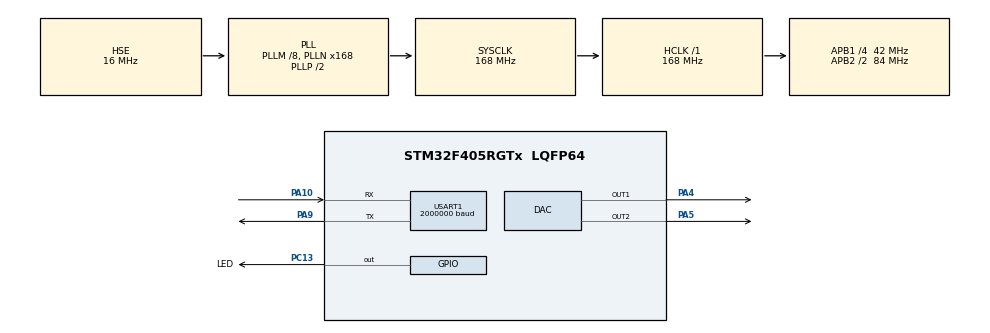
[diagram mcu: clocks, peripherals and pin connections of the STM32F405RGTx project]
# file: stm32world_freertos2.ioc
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ARM.CMSIS.5.6.0.CMSISJjDSP=Library
DAC.DAC_Trigger=DAC_TRIGGER_T6_TRGO
DAC.DAC_Trigger2=DAC_TRIGGER_T6_TRGO
Dma.DAC1.0.Direction=DMA_MEMORY_TO_PERIPH
Dma.DAC1.0.FIFOMode=DMA_FIFOMODE_DISABLE
Dma.DAC1.0.Instance=DMA1_Stream5
Dma.DAC1.0.MemDataAlignment=DMA_MDATAALIGN_HALFWORD
Dma.DAC1.0.MemInc=DMA_MINC_ENABLE
Dma.DAC1.0.Mode=DMA_CIRCULAR
Dma.DAC1.0.PeriphDataAlignment=DMA_PDATAALIGN_HALFWORD
Dma.DAC1.0.PeriphInc=DMA_PINC_DISABLE
Dma.DAC1.0.Priority=DMA_PRIORITY_LOW
Dma.DAC2.1.Direction=DMA_MEMORY_TO_PERIPH
Dma.DAC2.1.FIFOMode=DMA_FIFOMODE_DISABLE
Dma.DAC2.1.Instance=DMA1_Stream6
Dma.DAC2.1.MemDataAlignment=DMA_MDATAALIGN_HALFWORD
Dma.DAC2.1.MemInc=DMA_MINC_ENABLE
Dma.DAC2.1.Mode=DMA_CIRCULAR
Dma.DAC2.1.PeriphDataAlignment=DMA_PDATAALIGN_HALFWORD
Dma.DAC2.1.PeriphInc=DMA_PINC_DISABLE
Dma.DAC2.1.Priority=DMA_PRIORITY_LOW
Dma.Request0=DAC1
Dma.Request1=DAC2
FREERTOS.BinarySemaphores01=ledSemaphore,Dynamic,NULL,Available;wwdgSemaphore,Dynamic,NULL,Depleted
FREERTOS.Mutexes01=printMutex,Dynamic,NULL,Available;ledMutex,Dynamic,NULL,Available
FREERTOS.Queues01=tickQueue,16,uint32_t,0,Dynamic,NULL,NULL;sineQueue,16,uint32_t,0,Dynamic,NULL,NULL
FREERTOS.Tasks01=defaultTask,24,128,StartDefaultTask,Default,NULL,Dynamic,NULL,NULL;ledTask,8,128,StartLedTask,Default,NULL,Dynamic,NULL,NULL;tickTask,8,196,StartTickTask,Default,NULL,Dynamic,NULL,NULL;statusTask,8,256,StartStatusTask,Default,NULL,Dynamic,NULL,NULL;sineTask,8,128,StartSineTask,Default,NULL,Dynamic,NULL,NULL;iwdgTask,8,128,StartIIwdgTask,Default,NULL,Dynamic,NULL,NULL;wwdgTask,24,128,StartWwdgTask,Default,NULL,Dynamic,NULL,NULL
FREERTOS.configGENERATE_RUN_TIME_STATS=1
FREERTOS.configRECORD_STACK_HIGH_ADDRESS=1
FREERTOS.configTOTAL_HEAP_SIZE=65536
FREERTOS.configUSE_NEWLIB_REENTRANT=1
FREERTOS.configUSE_STATS_FORMATTING_FUNCTIONS=1
IWDG.Prescaler=IWDG_PRESCALER_16
IWDG.Reload=3000
Mcu.Family=STM32F4
Mcu.Name=STM32F405RGTx
Mcu.Package=LQFP64
NVIC.DMA1_Stream5_IRQn=true\:5\:0\:false\:false\:true\:true\:false\:true\:true
NVIC.DMA1_Stream6_IRQn=true\:5\:0\:false\:false\:true\:true\:false\:true\:true
NVIC.PriorityGroup=NVIC_PRIORITYGROUP_4
NVIC.TIM6_DAC_IRQn=true\:5\:0\:false\:false\:true\:true\:true\:true\:true
NVIC.TIM8_TRG_COM_TIM14_IRQn=true\:15\:0\:false\:false\:true\:false\:false\:true\:true
NVIC.TIM8_UP_TIM13_IRQn=true\:5\:0\:false\:false\:true\:true\:true\:true\:true
NVIC.TimeBase=TIM8_TRG_COM_TIM14_IRQn
NVIC.TimeBaseIP=TIM14
NVIC.WWDG_IRQn=true\:5\:0\:false\:false\:true\:true\:true\:true\:true
PA10.Mode=Asynchronous
PA10.Signal=USART1_RX
PA13.Mode=Trace_Asynchronous_SW
PA13.Signal=SYS_JTMS-SWDIO
PA14.Mode=Trace_Asynchronous_SW
PA14.Signal=SYS_JTCK-SWCLK
PA4.Signal=COMP_DAC1_group
PA5.Signal=COMP_DAC2_group
PA9.Mode=Asynchronous
PA9.Signal=USART1_TX
PB3.Mode=Trace_Asynchronous_SW
PB3.Signal=SYS_JTDO-SWO
PC13-ANTI_TAMP.GPIO_Label=LED
PC13-ANTI_TAMP.GPIO_ModeDefaultOutputPP=GPIO_MODE_OUTPUT_OD
PC13-ANTI_TAMP.GPIO_PuPd=GPIO_NOPULL
PC13-ANTI_TAMP.PinState=GPIO_PIN_SET
PC13-ANTI_TAMP.Signal=GPIO_Output
PH0-OSC_IN.Mode=HSE-External-Oscillator
PH0-OSC_IN.Signal=RCC_OSC_IN
PH1-OSC_OUT.Mode=HSE-External-Oscillator
PH1-OSC_OUT.Signal=RCC_OSC_OUT
ProjectManager.HeapSize=0x200
ProjectManager.StackSize=0x400
ProjectManager.TargetToolchain=STM32CubeIDE
RCC.48MHZClocksFreq_Value=84000000
RCC.AHBFreq_Value=168000000
RCC.APB1CLKDivider=RCC_HCLK_DIV4
RCC.APB1Freq_Value=42000000
RCC.APB1TimFreq_Value=84000000
RCC.APB2CLKDivider=RCC_HCLK_DIV2
RCC.APB2Freq_Value=84000000
RCC.APB2TimFreq_Value=168000000
RCC.CortexFreq_Value=168000000
RCC.HCLKFreq_Value=168000000
RCC.HSE_VALUE=16000000
RCC.HSI_VALUE=16000000
RCC.LSE_VALUE=32768
RCC.PLLM=8
RCC.PLLN=168
RCC.PLLSourceVirtual=RCC_PLLSOURCE_HSE
RCC.SYSCLKFreq_VALUE=168000000
RCC.SYSCLKSource=RCC_SYSCLKSOURCE_PLLCLK
RCC.VCOOutputFreq_Value=336000000
SH.COMP_DAC1_group.0=DAC_OUT1,DAC_OUT1
SH.COMP_DAC2_group.0=DAC_OUT2,DAC_OUT2
TIM13.Period=840 - 1
TIM13.Prescaler=0
TIM6.Period=875 - 1
TIM6.Prescaler=0
TIM6.TIM_MasterOutputTrigger=TIM_TRGO_UPDATE
USART1.BaudRate=2000000
USART1.VirtualMode=VM_ASYNC
VP_ARM.CMSIS_VS_CMSISJjDSP_1.7.0_5.6.0.Mode=CMSISJjDSP
VP_FREERTOS_VS_CMSIS_V2.Mode=CMSIS_V2
VP_IWDG_VS_IWDG.Mode=IWDG_Activate
VP_SYS_VS_tim14.Mode=TIM14
VP_TIM13_VS_ClockSourceINT.Mode=Enable_Timer
VP_TIM6_VS_ClockSourceINT.Mode=Enable_Timer
VP_WWDG_VS_WWDG.Mode=WWDG_Activate
WWDG.Counter=127
WWDG.EWIMode=WWDG_EWI_ENABLE
WWDG.Prescaler=WWDG_PRESCALER_8
board=custom

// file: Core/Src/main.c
/* USER CODE BEGIN Header */
/**
 ******************************************************************************
 * @file           : main.c
 * @brief          : Main program body
 ******************************************************************************
 * @attention
 *
 * Copyright (c) 2024 Lars Boegild Thomsen <lth@stm32world.com>
 * All rights reserved.
 *
 * This software is licensed under terms that can be found in the LICENSE file
 * in the root directory of this software component.
 * If no LICENSE file comes with this software, it is provided AS-IS.
 *
 ******************************************************************************
 */
/* USER CODE END Header */
#include "main.h"
#include "cmsis_os.h"

/* USER CODE BEGIN Includes */
#include <stdio.h>
#include <math.h>
#include "arm_math.h"
/* USER CODE END Includes */

/* USER CODE BEGIN PTD */
typedef struct {
    uint16_t *buffer;
    float angle;
    float angle_change;
    float amplification;
} sine_queue_t;
/* USER CODE END PTD */

/* USER CODE BEGIN PD */
#define DMA_BUFFER_SIZE 64
#define SAMPLE_FREQ 96000
#define OUTPUT_MID 2048
/* USER CODE END PD */

DAC_HandleTypeDef hdac;
DMA_HandleTypeDef hdma_dac1;
DMA_HandleTypeDef hdma_dac2;

IWDG_HandleTypeDef hiwdg;

TIM_HandleTypeDef htim6;
TIM_HandleTypeDef htim13;

UART_HandleTypeDef huart1;

WWDG_HandleTypeDef hwwdg;

/* Definitions for defaultTask */
osThreadId_t defaultTaskHandle;
const osThreadAttr_t defaultTask_attributes = {
  .name = "defaultTask",
  .stack_size = 128 * 4,
  .priority = (osPriority_t) osPriorityNormal,
};
/* Definitions for ledTask */
osThreadId_t ledTaskHandle;
const osThreadAttr_t ledTask_attributes = {
  .name = "ledTask",
  .stack_size = 128 * 4,
  .priority = (osPriority_t) osPriorityLow,
};
/* Definitions for tickTask */
osThreadId_t tickTaskHandle;
const osThreadAttr_t tickTask_attributes = {
  .name = "tickTask",
  .stack_size = 196 * 4,
  .priority = (osPriority_t) osPriorityLow,
};
/* Definitions for statusTask */
osThreadId_t statusTaskHandle;
const osThreadAttr_t statusTask_attributes = {
  .name = "statusTask",
  .stack_size = 256 * 4,
  .priority = (osPriority_t) osPriorityLow,
};
/* Definitions for sineTask */
osThreadId_t sineTaskHandle;
const osThreadAttr_t sineTask_attributes = {
  .name = "sineTask",
  .stack_size = 128 * 4,
  .priority = (osPriority_t) osPriorityLow,
};
/* Definitions for iwdgTask */
osThreadId_t iwdgTaskHandle;
const osThreadAttr_t iwdgTask_attributes = {
  .name = "iwdgTask",
  .stack_size = 128 * 4,
  .priority = (osPriority_t) osPriorityLow,
};
/* Definitions for wwdgTask */
osThreadId_t wwdgTaskHandle;
const osThreadAttr_t wwdgTask_attributes = {
  .name = "wwdgTask",
  .stack_size = 128 * 4,
  .priority = (osPriority_t) osPriorityNormal,
};
/* Definitions for tickQueue */
osMessageQueueId_t tickQueueHandle;
const osMessageQueueAttr_t tickQueue_attributes = {
  .name = "tickQueue"
};
/* Definitions for sineQueue */
osMessageQueueId_t sineQueueHandle;
const osMessageQueueAttr_t sineQueue_attributes = {
  .name = "sineQueue"
};
/* Definitions for printMutex */
osMutexId_t printMutexHandle;
const osMutexAttr_t printMutex_attributes = {
  .name = "printMutex"
};
/* Definitions for ledMutex */
osMutexId_t ledMutexHandle;
const osMutexAttr_t ledMutex_attributes = {
  .name = "ledMutex"
};
/* Definitions for ledSemaphore */
osSemaphoreId_t ledSemaphoreHandle;
const osSemaphoreAttr_t ledSemaphore_attributes = {
  .name = "ledSemaphore"
};
/* Definitions for wwdgSemaphore */
osSemaphoreId_t wwdgSemaphoreHandle;
const osSemaphoreAttr_t wwdgSemaphore_attributes = {
  .name = "wwdgSemaphore"
};
/* USER CODE BEGIN PV */

// Counter updated from high freq timer
volatile unsigned long ulHighFrequencyTimerTicks;

// Pre-allocate all the heap for FreeRTOS.  FreeRTOS will do this by itself if this define is
// not set.
#ifdef configAPPLICATION_ALLOCATED_HEAP
uint8_t ucHeap[configTOTAL_HEAP_SIZE] __attribute__((section(".ccmram"))); // Put in ccmram
#endif

//uint8_t buf[32232] __attribute__((section(".ccmram")));

// DMA buffers - we need two of them.  Notice these can NOT go in ccmram!
uint16_t dma_buffer_1[2 * DMA_BUFFER_SIZE];
uint16_t dma_buffer_2[2 * DMA_BUFFER_SIZE];

// Keep track of the sine wave on each dac.  Buffer, angle, angle change and amplification
sine_queue_t dacs[2] = {
        {
                &dma_buffer_1[0],
                0,
                1000 * (2 * M_PI / SAMPLE_FREQ),
                0.99
        },
        {
                &dma_buffer_2[0],
                0,
                999.9 * (2 * M_PI / SAMPLE_FREQ),
                0.75
        }

};

// Don't want to repeat this calculation over and over again
const float two_pi = 2 * M_PI;

/* USER CODE END PV */

void SystemClock_Config(void);
static void MX_GPIO_Init(void);
static void MX_DMA_Init(void);
static void MX_TIM13_Init(void);
static void MX_USART1_UART_Init(void);
static void MX_DAC_Init(void);
static void MX_TIM6_Init(void);
static void MX_IWDG_Init(void);
static void MX_WWDG_Init(void);
void StartDefaultTask(void *argument);
void StartLedTask(void *argument);
void StartTickTask(void *argument);
void StartStatusTask(void *argument);
void StartSineTask(void *argument);
void StartIIwdgTask(void *argument);
void StartWwdgTask(void *argument);

/* USER CODE BEGIN 0 */

// Send printf to uart1
int _write(int fd, char *ptr, int len) {
    HAL_StatusTypeDef hstatus;

    if (fd == 1 || fd == 2) {
        hstatus = HAL_UART_Transmit(&huart1, (uint8_t*) ptr, len, HAL_MAX_DELAY);
        if (hstatus == HAL_OK)
            return len;
        else
            return -1;
    }
    return -1;
}

// Get triggered shortly before WWDG reset.  We can refresh here or in a separate task.
void HAL_WWDG_EarlyWakeupCallback(WWDG_HandleTypeDef *hwwdg) {
    osSemaphoreRelease(wwdgSemaphoreHandle);
    //HAL_WWDG_Refresh(hwwdg);
}

void configureTimerForRunTimeStats(void) {
    ulHighFrequencyTimerTicks = 0;
    HAL_TIM_Base_Start_IT(&htim13);
}

unsigned long getRunTimeCounterValue(void) {
    return ulHighFrequencyTimerTicks;
}

void HAL_DAC_ConvHalfCpltCallbackCh1(DAC_HandleTypeDef *hdac) {
    //++conv_half_ch1;
    dacs[0].buffer = &dma_buffer_1[0];
    uint32_t dac_addr = (uint32_t) &dacs[0];
    osMessageQueuePut(sineQueueHandle, &dac_addr, 0, 0);
}

void HAL_DAC_ConvCpltCallbackCh1(DAC_HandleTypeDef *hdac) {
    //++conv_ch1;
    dacs[0].buffer = &dma_buffer_1[DMA_BUFFER_SIZE];
    uint32_t dac_addr = (uint32_t) &dacs[0];
    osMessageQueuePut(sineQueueHandle, &dac_addr, 0, 0);
}

void HAL_DACEx_ConvHalfCpltCallbackCh2(DAC_HandleTypeDef *hdac) {
    //++conv_half_ch2;
    dacs[1].buffer = &dma_buffer_2[0];
    uint32_t dac_addr = (uint32_t) &dacs[1];
    osMessageQueuePut(sineQueueHandle, &dac_addr, 0, 0);
}

void HAL_DACEx_ConvCpltCallbackCh2(DAC_HandleTypeDef *hdac) {
    //++conv_ch2;
    dacs[1].buffer = &dma_buffer_2[DMA_BUFFER_SIZE];
    uint32_t dac_addr = (uint32_t) &dacs[1];
    osMessageQueuePut(sineQueueHandle, &dac_addr, 0, 0);
}

/// @brief  Possible STM32 system reset causes
typedef enum reset_cause_e
{
    RESET_CAUSE_UNKNOWN = 0,
    RESET_CAUSE_LOW_POWER_RESET,
    RESET_CAUSE_WINDOW_WATCHDOG_RESET,
    RESET_CAUSE_INDEPENDENT_WATCHDOG_RESET,
    RESET_CAUSE_SOFTWARE_RESET,
    RESET_CAUSE_POWER_ON_POWER_DOWN_RESET,
    RESET_CAUSE_EXTERNAL_RESET_PIN_RESET,
    RESET_CAUSE_BROWNOUT_RESET,
} reset_cause_t;

/// @brief      Obtain the STM32 system reset cause
/// @param      None
/// @return     The system reset cause
reset_cause_t reset_cause_get(void)
{
    reset_cause_t reset_cause;

    if (__HAL_RCC_GET_FLAG(RCC_FLAG_LPWRRST))
            {
        reset_cause = RESET_CAUSE_LOW_POWER_RESET;
    }
    else if (__HAL_RCC_GET_FLAG(RCC_FLAG_WWDGRST))
            {
        reset_cause = RESET_CAUSE_WINDOW_WATCHDOG_RESET;
    }
    else if (__HAL_RCC_GET_FLAG(RCC_FLAG_IWDGRST))
            {
        reset_cause = RESET_CAUSE_INDEPENDENT_WATCHDOG_RESET;
    }
    else if (__HAL_RCC_GET_FLAG(RCC_FLAG_SFTRST))
            {
        // This reset is induced by calling the ARM CMSIS
        // `NVIC_SystemReset()` function!
        reset_cause = RESET_CAUSE_SOFTWARE_RESET;
    }
    else if (__HAL_RCC_GET_FLAG(RCC_FLAG_PORRST))
            {
        reset_cause = RESET_CAUSE_POWER_ON_POWER_DOWN_RESET;
    }
    else if (__HAL_RCC_GET_FLAG(RCC_FLAG_PINRST))
            {
        reset_cause = RESET_CAUSE_EXTERNAL_RESET_PIN_RESET;
    }
    // Needs to come *after* checking the `RCC_FLAG_PORRST` flag in order to
    // ensure first that the reset cause is NOT a POR/PDR reset. See note
    // below.
    else if (__HAL_RCC_GET_FLAG(RCC_FLAG_BORRST))
            {
        reset_cause = RESET_CAUSE_BROWNOUT_RESET;
    }
    else
    {
        reset_cause = RESET_CAUSE_UNKNOWN;
    }

    // Clear all the reset flags or else they will remain set during future
    // resets until system power is fully removed.
    __HAL_RCC_CLEAR_RESET_FLAGS();

    return reset_cause;
}

// Note: any of the STM32 Hardware Abstraction Layer (HAL) Reset and Clock
// Controller (RCC) header files, such as
// "STM32Cube_FW_F7_V1.12.0/Drivers/STM32F7xx_HAL_Driver/Inc/stm32f7xx_hal_rcc.h",
// "STM32Cube_FW_F2_V1.7.0/Drivers/STM32F2xx_HAL_Driver/Inc/stm32f2xx_hal_rcc.h",
// etc., indicate that the brownout flag, `RCC_FLAG_BORRST`, will be set in
// the event of a "POR/PDR or BOR reset". This means that a Power-On Reset
// (POR), Power-Down Reset (PDR), OR Brownout Reset (BOR) will trip this flag.
// See the doxygen just above their definition for the
// `__HAL_RCC_GET_FLAG()` macro to see this:
//      "@arg RCC_FLAG_BORRST: POR/PDR or BOR reset." <== indicates the Brownout
//      Reset flag will *also* be set in the event of a POR/PDR.
// Therefore, you must check the Brownout Reset flag, `RCC_FLAG_BORRST`, *after*
// first checking the `RCC_FLAG_PORRST` flag in order to ensure first that the
// reset cause is NOT a POR/PDR reset.

/// @brief      Obtain the system reset cause as an ASCII-printable name string
///             from a reset cause type
/// @param[in]  reset_cause     The previously-obtained system reset cause
/// @return     A null-terminated ASCII name string describing the system
///             reset cause
const char* reset_cause_get_name(reset_cause_t reset_cause)
{
    const char *reset_cause_name = "TBD";

    switch (reset_cause)
    {
    case RESET_CAUSE_UNKNOWN:
        reset_cause_name = "UNKNOWN";
        break;
    case RESET_CAUSE_LOW_POWER_RESET:
        reset_cause_name = "LOW_POWER_RESET";
        break;
    case RESET_CAUSE_WINDOW_WATCHDOG_RESET:
        reset_cause_name = "WINDOW_WATCHDOG_RESET";
        break;
    case RESET_CAUSE_INDEPENDENT_WATCHDOG_RESET:
        reset_cause_name = "INDEPENDENT_WATCHDOG_RESET";
        break;
    case RESET_CAUSE_SOFTWARE_RESET:
        reset_cause_name = "SOFTWARE_RESET";
        break;
    case RESET_CAUSE_POWER_ON_POWER_DOWN_RESET:
        reset_cause_name = "POWER-ON_RESET (POR) / POWER-DOWN_RESET (PDR)";
        break;
    case RESET_CAUSE_EXTERNAL_RESET_PIN_RESET:
        reset_cause_name = "EXTERNAL_RESET_PIN_RESET";
        break;
    case RESET_CAUSE_BROWNOUT_RESET:
        reset_cause_name = "BROWNOUT_RESET (BOR)";
        break;
    }

    return reset_cause_name;
}

/* USER CODE END 0 */

int main(void)
{

  /* MCU Configuration--------------------------------------------------------*/

  /* Reset of all peripherals, Initializes the Flash interface and the Systick. */
  HAL_Init();

  /* Configure the system clock */
  SystemClock_Config();

  /* Initialize all configured peripherals */
  MX_GPIO_Init();
  MX_DMA_Init();
  MX_TIM13_Init();
  MX_USART1_UART_Init();
  MX_DAC_Init();
  MX_TIM6_Init();
  MX_IWDG_Init();
  MX_WWDG_Init();
  /* USER CODE BEGIN 2 */

    //buf[1] = 0xff;
    printf("\n\n\n--------\nStarting\n");

    reset_cause_t reset_cause = reset_cause_get();
    printf("The system reset cause is \"%s\"\n", reset_cause_get_name(reset_cause));

    HAL_TIM_Base_Start_IT(&htim6);

    HAL_DAC_Start_DMA(&hdac, DAC_CHANNEL_1, (uint32_t*) &dma_buffer_1, 2 * DMA_BUFFER_SIZE, DAC_ALIGN_12B_R);
    HAL_DAC_Start_DMA(&hdac, DAC_CHANNEL_2, (uint32_t*) &dma_buffer_2, 2 * DMA_BUFFER_SIZE, DAC_ALIGN_12B_R);

  /* USER CODE END 2 */

  /* Init scheduler */
  osKernelInitialize();
  /* Create the mutex(es) */
  /* creation of printMutex */
  printMutexHandle = osMutexNew(&printMutex_attributes);

  /* creation of ledMutex */
  ledMutexHandle = osMutexNew(&ledMutex_attributes);

  /* Create the semaphores(s) */
  /* creation of ledSemaphore */
  ledSemaphoreHandle = osSemaphoreNew(1, 1, &ledSemaphore_attributes);

  /* creation of wwdgSemaphore */
  wwdgSemaphoreHandle = osSemaphoreNew(1, 0, &wwdgSemaphore_attributes);

  /* Create the queue(s) */
  /* creation of tickQueue */
  tickQueueHandle = osMessageQueueNew (16, sizeof(uint32_t), &tickQueue_attributes);

  /* creation of sineQueue */
  sineQueueHandle = osMessageQueueNew (16, sizeof(uint32_t), &sineQueue_attributes);

  /* Create the thread(s) */
  /* creation of defaultTask */
  defaultTaskHandle = osThreadNew(StartDefaultTask, NULL, &defaultTask_attributes);

  /* creation of ledTask */
  ledTaskHandle = osThreadNew(StartLedTask, NULL, &ledTask_attributes);

  /* creation of tickTask */
  tickTaskHandle = osThreadNew(StartTickTask, NULL, &tickTask_attributes);

  /* creation of statusTask */
  statusTaskHandle = osThreadNew(StartStatusTask, NULL, &statusTask_attributes);

  /* creation of sineTask */
  sineTaskHandle = osThreadNew(StartSineTask, NULL, &sineTask_attributes);

  /* creation of iwdgTask */
  iwdgTaskHandle = osThreadNew(StartIIwdgTask, NULL, &iwdgTask_attributes);

  /* creation of wwdgTask */
  wwdgTaskHandle = osThreadNew(StartWwdgTask, NULL, &wwdgTask_attributes);

  /* Start scheduler */
  osKernelStart();

  /* We should never get here as control is now taken by the scheduler */

  /* Infinite loop */
    while (1)
    {

    }
}

void SystemClock_Config(void)
{
  RCC_OscInitTypeDef RCC_OscInitStruct = {0};
  RCC_ClkInitTypeDef RCC_ClkInitStruct = {0};

  /** Configure the main internal regulator output voltage
  */
  __HAL_RCC_PWR_CLK_ENABLE();
  __HAL_PWR_VOLTAGESCALING_CONFIG(PWR_REGULATOR_VOLTAGE_SCALE1);

  /** Initializes the RCC Oscillators according to the specified parameters
  * in the RCC_OscInitTypeDef structure.
  */
  RCC_OscInitStruct.OscillatorType = RCC_OSCILLATORTYPE_LSI|RCC_OSCILLATORTYPE_HSE;
  RCC_OscInitStruct.HSEState = RCC_HSE_ON;
  RCC_OscInitStruct.LSIState = RCC_LSI_ON;
  RCC_OscInitStruct.PLL.PLLState = RCC_PLL_ON;
  RCC_OscInitStruct.PLL.PLLSource = RCC_PLLSOURCE_HSE;
  RCC_OscInitStruct.PLL.PLLM = 8;
  RCC_OscInitStruct.PLL.PLLN = 168;
  RCC_OscInitStruct.PLL.PLLP = RCC_PLLP_DIV2;
  RCC_OscInitStruct.PLL.PLLQ = 4;
  if (HAL_RCC_OscConfig(&RCC_OscInitStruct) != HAL_OK)
  {
    Error_Handler();
  }

  /** Initializes the CPU, AHB and APB buses clocks
  */
  RCC_ClkInitStruct.ClockType = RCC_CLOCKTYPE_HCLK|RCC_CLOCKTYPE_SYSCLK
                              |RCC_CLOCKTYPE_PCLK1|RCC_CLOCKTYPE_PCLK2;
  RCC_ClkInitStruct.SYSCLKSource = RCC_SYSCLKSOURCE_PLLCLK;
  RCC_ClkInitStruct.AHBCLKDivider = RCC_SYSCLK_DIV1;
  RCC_ClkInitStruct.APB1CLKDivider = RCC_HCLK_DIV4;
  RCC_ClkInitStruct.APB2CLKDivider = RCC_HCLK_DIV2;

  if (HAL_RCC_ClockConfig(&RCC_ClkInitStruct, FLASH_LATENCY_5) != HAL_OK)
  {
    Error_Handler();
  }
}

static void MX_DAC_Init(void)
{

  DAC_ChannelConfTypeDef sConfig = {0};

  /** DAC Initialization
  */
  hdac.Instance = DAC;
  if (HAL_DAC_Init(&hdac) != HAL_OK)
  {
    Error_Handler();
  }

  /** DAC channel OUT1 config
  */
  sConfig.DAC_Trigger = DAC_TRIGGER_T6_TRGO;
  sConfig.DAC_OutputBuffer = DAC_OUTPUTBUFFER_ENABLE;
  if (HAL_DAC_ConfigChannel(&hdac, &sConfig, DAC_CHANNEL_1) != HAL_OK)
  {
    Error_Handler();
  }

  /** DAC channel OUT2 config
  */
  if (HAL_DAC_ConfigChannel(&hdac, &sConfig, DAC_CHANNEL_2) != HAL_OK)
  {
    Error_Handler();
  }

}

static void MX_IWDG_Init(void)
{

  hiwdg.Instance = IWDG;
  hiwdg.Init.Prescaler = IWDG_PRESCALER_16;
  hiwdg.Init.Reload = 3000;
  if (HAL_IWDG_Init(&hiwdg) != HAL_OK)
  {
    Error_Handler();
  }

}

static void MX_TIM6_Init(void)
{

  TIM_MasterConfigTypeDef sMasterConfig = {0};

  htim6.Instance = TIM6;
  htim6.Init.Prescaler = 0;
  htim6.Init.CounterMode = TIM_COUNTERMODE_UP;
  htim6.Init.Period = 875 - 1;
  htim6.Init.AutoReloadPreload = TIM_AUTORELOAD_PRELOAD_DISABLE;
  if (HAL_TIM_Base_Init(&htim6) != HAL_OK)
  {
    Error_Handler();
  }
  sMasterConfig.MasterOutputTrigger = TIM_TRGO_UPDATE;
  sMasterConfig.MasterSlaveMode = TIM_MASTERSLAVEMODE_DISABLE;
  if (HAL_TIMEx_MasterConfigSynchronization(&htim6, &sMasterConfig) != HAL_OK)
  {
    Error_Handler();
  }

}

static void MX_TIM13_Init(void)
{

  htim13.Instance = TIM13;
  htim13.Init.Prescaler = 0;
  htim13.Init.CounterMode = TIM_COUNTERMODE_UP;
  htim13.Init.Period = 840 - 1;
  htim13.Init.ClockDivision = TIM_CLOCKDIVISION_DIV1;
  htim13.Init.AutoReloadPreload = TIM_AUTORELOAD_PRELOAD_DISABLE;
  if (HAL_TIM_Base_Init(&htim13) != HAL_OK)
  {
    Error_Handler();
  }

}

static void MX_USART1_UART_Init(void)
{

  huart1.Instance = USART1;
  huart1.Init.BaudRate = 2000000;
  huart1.Init.WordLength = UART_WORDLENGTH_8B;
  huart1.Init.StopBits = UART_STOPBITS_1;
  huart1.Init.Parity = UART_PARITY_NONE;
  huart1.Init.Mode = UART_MODE_TX_RX;
  huart1.Init.HwFlowCtl = UART_HWCONTROL_NONE;
  huart1.Init.OverSampling = UART_OVERSAMPLING_16;
  if (HAL_UART_Init(&huart1) != HAL_OK)
  {
    Error_Handler();
  }

}

static void MX_WWDG_Init(void)
{

  hwwdg.Instance = WWDG;
  hwwdg.Init.Prescaler = WWDG_PRESCALER_8;
  hwwdg.Init.Window = 64;
  hwwdg.Init.Counter = 127;
  hwwdg.Init.EWIMode = WWDG_EWI_ENABLE;
  if (HAL_WWDG_Init(&hwwdg) != HAL_OK)
  {
    Error_Handler();
  }

}

static void MX_DMA_Init(void)
{

  /* DMA controller clock enable */
  __HAL_RCC_DMA1_CLK_ENABLE();

  /* DMA interrupt init */
  /* DMA1_Stream5_IRQn interrupt configuration */
  HAL_NVIC_SetPriority(DMA1_Stream5_IRQn, 5, 0);
  HAL_NVIC_EnableIRQ(DMA1_Stream5_IRQn);
  /* DMA1_Stream6_IRQn interrupt configuration */
  HAL_NVIC_SetPriority(DMA1_Stream6_IRQn, 5, 0);
  HAL_NVIC_EnableIRQ(DMA1_Stream6_IRQn);

}

static void MX_GPIO_Init(void)
{
  GPIO_InitTypeDef GPIO_InitStruct = {0};

  /* GPIO Ports Clock Enable */
  __HAL_RCC_GPIOC_CLK_ENABLE();
  __HAL_RCC_GPIOH_CLK_ENABLE();
  __HAL_RCC_GPIOA_CLK_ENABLE();
  __HAL_RCC_GPIOB_CLK_ENABLE();

  /*Configure GPIO pin Output Level */
  HAL_GPIO_WritePin(LED_GPIO_Port, LED_Pin, GPIO_PIN_SET);

  /*Configure GPIO pin : LED_Pin */
  GPIO_InitStruct.Pin = LED_Pin;
  GPIO_InitStruct.Mode = GPIO_MODE_OUTPUT_OD;
  GPIO_InitStruct.Pull = GPIO_NOPULL;
  GPIO_InitStruct.Speed = GPIO_SPEED_FREQ_LOW;
  HAL_GPIO_Init(LED_GPIO_Port, &GPIO_InitStruct);

}

void StartDefaultTask(void *argument)
{
  /* USER CODE BEGIN 5 */

    uint32_t loop_cnt = 0;

    /* Infinite loop */
    for (;;)
            {
        osDelay(100);

        if (loop_cnt % 10 == 0) {

            uint32_t tick = osKernelGetTickCount();

            osMessageQueuePut(tickQueueHandle, &tick, 0, osWaitForever);

        }

        if (loop_cnt % 5 == 0) {

            osSemaphoreRelease(ledSemaphoreHandle);

        }

        ++loop_cnt;
    }
  /* USER CODE END 5 */
}

void StartLedTask(void *argument)
{
  /* USER CODE BEGIN StartLedTask */

    osStatus_t ret;

    /* Infinite loop */
    for (;;) {

        ret = osSemaphoreAcquire(ledSemaphoreHandle, osWaitForever);

        if (!ret) {

            osMutexWait(ledMutexHandle, osWaitForever);

            HAL_GPIO_TogglePin(LED_GPIO_Port, LED_Pin);

            osMutexRelease(ledMutexHandle);

        }

    }
  /* USER CODE END StartLedTask */
}

void StartTickTask(void *argument)
{
  /* USER CODE BEGIN StartTickTask */

    osStatus_t ret;

    /* Infinite loop */
    for (;;) {

        uint32_t tick;

        ret = osMessageQueueGet(tickQueueHandle, &tick, NULL, osWaitForever);

        if (ret == osOK) {

            osMutexWait(printMutexHandle, osWaitForever);

            printf("Tick %lu \n", tick / 1000);

            osMutexRelease(printMutexHandle);

        }

    }

  /* USER CODE END StartTickTask */
}

void StartStatusTask(void *argument)
{
  /* USER CODE BEGIN StartStatusTask */
    TaskStatus_t *pxTaskStatusArray;
    volatile UBaseType_t uxArraySize, x;
    unsigned long ulTotalRunTime;
    float runtime_percentage;

    /* Infinite loop */
    for (;;) {

        osDelay(10000);

        uxArraySize = uxTaskGetNumberOfTasks();
        pxTaskStatusArray = pvPortMalloc(uxArraySize * sizeof(TaskStatus_t)); // a little bit scary!

        osMutexWait(printMutexHandle, osWaitForever);

        if (pxTaskStatusArray != NULL) {

            uxArraySize = uxTaskGetSystemState(pxTaskStatusArray, uxArraySize,
                    &ulTotalRunTime);

            printf("Task count = %lu\n", uxArraySize);
            printf("No       Name          P  S   Usage       Count      HW\n");

            for (x = 0; x < uxArraySize; x++) {

                runtime_percentage = (float) (100
                        * (float) pxTaskStatusArray[x].ulRunTimeCounter
                        / (float) ulTotalRunTime);

                printf("Task %2lu: %-12s %2lu %2d %8.4f (%12lu) %5i\n",
                        x,
                        pxTaskStatusArray[x].pcTaskName,
                        pxTaskStatusArray[x].uxCurrentPriority,
                        pxTaskStatusArray[x].eCurrentState,
                        runtime_percentage,
                        pxTaskStatusArray[x].ulRunTimeCounter,
                        pxTaskStatusArray[x].usStackHighWaterMark);

            }

            vPortFree(pxTaskStatusArray);

        } else {
            printf("Unable to allocate stack space\n");
        }

        osMutexRelease(printMutexHandle);

    }

  /* USER CODE END StartStatusTask */
}

void StartSineTask(void *argument)
{
  /* USER CODE BEGIN StartSineTask */

    osStatus_t ret;

    uint32_t sine_p;

    /* Infinite loop */
    for (;;) {

        ret = osMessageQueueGet(sineQueueHandle, &sine_p, 0, osWaitForever);

        if (ret == osOK) {
            //++sine_task;

            // The message contain a pointer to the relevant sine_queue_t struct
            sine_queue_t *sine = (sine_queue_t*) sine_p;

            // Run through the buffer
            for (int i = 0; i < DMA_BUFFER_SIZE; ++i) {

                // Since we got the angle, calculating the dac value is quite simple.  The arm_cos_f32 function
                // is blindingly fast compared with the fpu
                sine->buffer[i] = OUTPUT_MID - (sine->amplification * (OUTPUT_MID * arm_cos_f32(sine->angle)));

                // Prepare angle for next point simply by adding the pre-calculated angle change (based on frequency)
                sine->angle += sine->angle_change;

                // If we've gone full circle - cycle back
                if (sine->angle >= two_pi) {
                    sine->angle -= two_pi;
                }
            }

        }

    }
  /* USER CODE END StartSineTask */
}

void StartIIwdgTask(void *argument)
{
  /* USER CODE BEGIN StartIIwdgTask */
    /* Infinite loop */
    for (;;) {
        HAL_IWDG_Refresh(&hiwdg);
        osDelay(1000);
    }
  /* USER CODE END StartIIwdgTask */
}

void StartWwdgTask(void *argument)
{
  /* USER CODE BEGIN StartWwdgTask */

    osStatus_t ret;

    /* Infinite loop */
    for (;;) {

        ret = osSemaphoreAcquire(wwdgSemaphoreHandle, osWaitForever);

        if (!ret) {
            HAL_WWDG_Refresh(&hwwdg);
        }

    }

  /* USER CODE END StartWwdgTask */
}

void HAL_TIM_PeriodElapsedCallback(TIM_HandleTypeDef *htim)
{
  if (htim->Instance == TIM14) {
    HAL_IncTick();
  }
}

void Error_Handler(void)
{
    __disable_irq();
    while (1)
    {
    }
}
